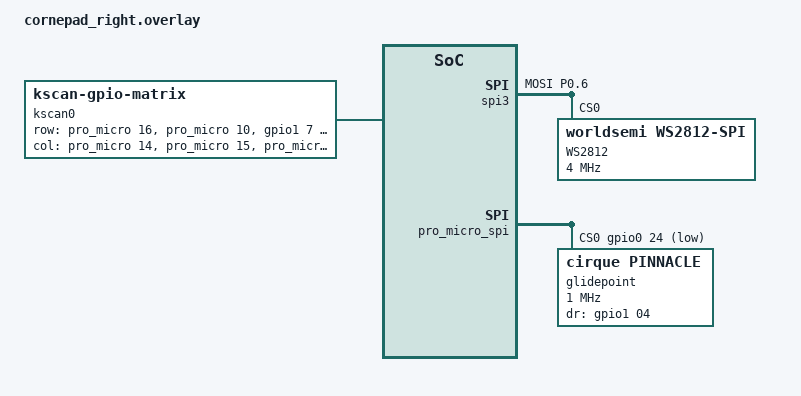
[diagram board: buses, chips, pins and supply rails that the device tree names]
#include "cornepad.dtsi"

#include <dt-bindings/zmk/input_transform.h>
#include <dt-bindings/zmk/ext_power.h>
#include <dt-bindings/zmk/pointing.h>
#include <dt-bindings/led/led.h>

// touchpad
&pinctrl {
    spi1_default: spi1_default {
        group1 {
            psels = <NRF_PSEL(SPIM_SCK,  1, 00)>,
                    <NRF_PSEL(SPIM_MOSI, 0, 11)>,
                    <NRF_PSEL(SPIM_MISO, 0, 22)>;
        };
    };

    spi1_sleep: spi1_sleep {
        group1 {
            psels = <NRF_PSEL(SPIM_SCK, 1, 00)>,
                    <NRF_PSEL(SPIM_MOSI, 0, 11)>,
                    <NRF_PSEL(SPIM_MISO, 0, 22)>;
            low-power-enable;
        };
    };

};

// LED
&pinctrl {
    spi3_default: spi3_default {
        group1 {
            psels = <NRF_PSEL(SPIM_MOSI, 0, 6)>;
        };
    };

    spi3_sleep: spi3_sleep {
        group1 {
            psels = <NRF_PSEL(SPIM_MOSI, 0, 6)>;
            low-power-enable;
        };
    };
};

&spi3 {
  compatible = "nordic,nrf-spim";
  status = "okay";

  pinctrl-0 = <&spi3_default>;
  pinctrl-1 = <&spi3_sleep>;
  pinctrl-names = "default", "sleep";

  led_strip: ws2812@0 {
    compatible = "worldsemi,ws2812-spi";
    reg = <0>;
    label = "WS2812";
    spi-max-frequency = <4000000>;

    chain-length = <21>;
    spi-one-frame = <0x70>;
    spi-zero-frame = <0x40>;
    color-mapping = <LED_COLOR_ID_GREEN
                     LED_COLOR_ID_RED
                     LED_COLOR_ID_BLUE>;
  };
};

&default_transform {
    col-offset = <6>;
};

&pro_micro_spi {
    status = "okay";
    cs-gpios = <&gpio0 24 GPIO_ACTIVE_LOW>;

    glidepoint: glidepoint@0 {
        compatible = "cirque,pinnacle";
        status = "okay";
        reg = <0>;
        spi-max-frequency = <1000000>;
        dr-gpios = <&gpio1 04 (GPIO_ACTIVE_HIGH)>;

        sensitivity = "3x";
        // sleep;
        no-taps;
    };
};

&glidepoint_split {
    device = <&glidepoint>;
};

/ {
    chosen {
        zmk,kscan = &kscan0;
        zmk,underglow = &led_strip;
    };

    kscan0: kscan {
        compatible = "zmk,kscan-gpio-matrix";
        wakeup-source;
        diode-direction = "col2row";
        row-gpios
            = <&pro_micro 16 (GPIO_ACTIVE_HIGH | GPIO_PULL_DOWN)>
            , <&pro_micro 10 (GPIO_ACTIVE_HIGH | GPIO_PULL_DOWN)>
            , <&gpio1 7 (GPIO_ACTIVE_HIGH | GPIO_PULL_DOWN)>
            , <&gpio1 2 (GPIO_ACTIVE_HIGH | GPIO_PULL_DOWN)>
            ;

        col-gpios
            = <&pro_micro 14 GPIO_ACTIVE_HIGH>
            , <&pro_micro 15 GPIO_ACTIVE_HIGH>
            , <&pro_micro 18 GPIO_ACTIVE_HIGH>
            , <&pro_micro 19 GPIO_ACTIVE_HIGH>
            , <&pro_micro 20 GPIO_ACTIVE_HIGH>
            , <&pro_micro 21 GPIO_ACTIVE_HIGH>
            ;

    };
};
